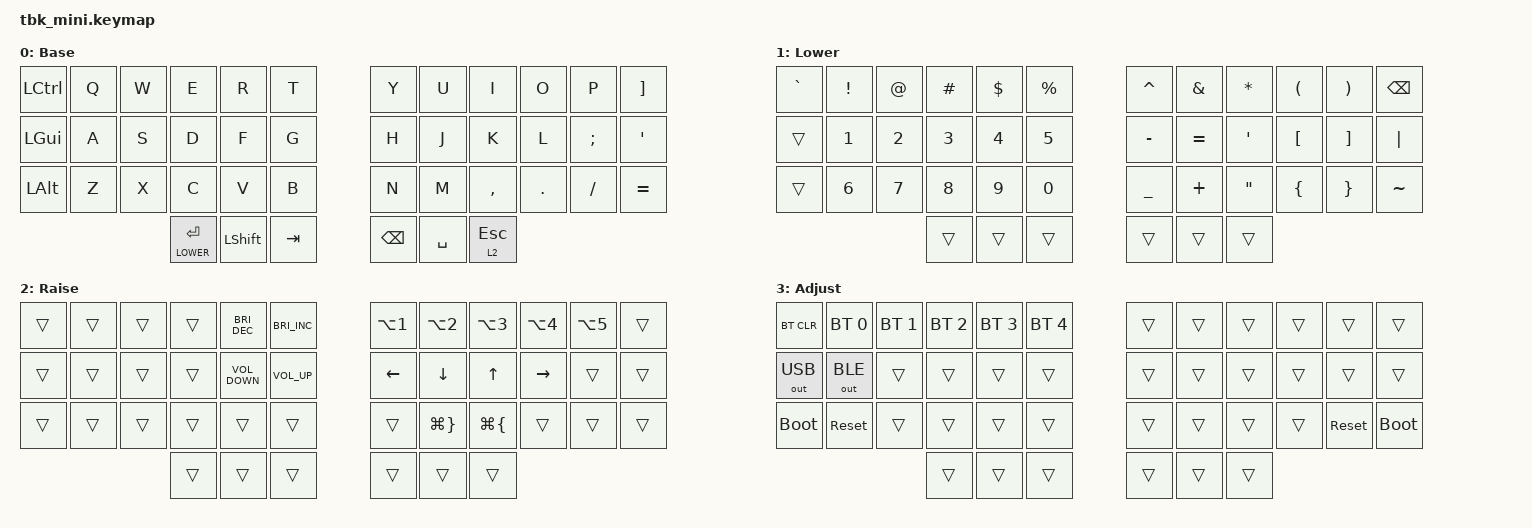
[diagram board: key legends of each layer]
#include <behaviors.dtsi>
#include <dt-bindings/zmk/bt.h>
#include <dt-bindings/zmk/keys.h>
#include <dt-bindings/zmk/outputs.h>

#define DEFAULT 0
#define LOWER   1
#define RAISE   2
#define ADJUST  3

/ {
    conditional_layers {
        compatible = "zmk,conditional-layers";

        adjust {
            if-layers = <LOWER RAISE>;
            then-layer = <ADJUST>;
        };
    };

    behaviors {
        // "Timeless" home row mods (positional + prior-idle):
        //   * balanced flavor
        //   * hold only fires when a key on the OPPOSITE hand (or a thumb) is
        //     pressed -> same-hand rolls never trigger a modifier
        //   * require-prior-idle-ms -> if you just typed, it resolves as a tap,
        //     so fast typing doesn't misfire mods
        //
        // Key positions (42-key layout, 0-indexed):
        //   row0  0..11   row1 12..23   row2 24..35   thumbs 36..41
        //   left hand:  0-5  12-17 24-29     right hand: 6-11 18-23 30-35
        //   thumbs:     36-41

        hml: home_row_mod_left {
            compatible = "zmk,behavior-hold-tap";
            #binding-cells = <2>;
            flavor = "balanced";
            tapping-term-ms = <280>;
            quick-tap-ms = <175>;
            require-prior-idle-ms = <150>;
            bindings = <&kp>, <&kp>;

            hold-trigger-key-positions = <6 7 8 9 10 11 18 19 20 21 22 23 30 31 32 33 34 35 36 37 38 39 40 41>;
            hold-trigger-on-release;
        };

        hmr: home_row_mod_right {
            compatible = "zmk,behavior-hold-tap";
            #binding-cells = <2>;
            flavor = "balanced";
            tapping-term-ms = <280>;
            quick-tap-ms = <175>;
            require-prior-idle-ms = <150>;
            bindings = <&kp>, <&kp>;

            hold-trigger-key-positions = <0 1 2 3 4 5 12 13 14 15 16 17 24 25 26 27 28 29 36 37 38 39 40 41>;
            hold-trigger-on-release;
        };
    };

    keymap {
        compatible = "zmk,keymap";

        // 42 keys: 3 alpha rows (6L + 6R) + 3 thumbs per side (inner columns).
        // Row 3 thumbs: SPACE = tap Space / hold Lower, BSPC = tap Bksp / hold
        // Raise, plus Del (left) and Enter (right).
        // Home row A S D F / J K L ; are GACS home row mods (GUI ALT CTRL SHIFT).

        default_layer {
            display-name = "Base";
            bindings = <
&kp LCTRL     &kp Q  &kp W  &kp E            &kp R           &kp T    &kp Y          &kp U      &kp I         &kp O    &kp P          &kp RIGHT_BRACKET
&kp LEFT_GUI  &kp A  &kp S  &kp D            &kp F           &kp G    &kp H          &kp J      &kp K         &kp L    &kp SEMICOLON  &kp SQT
&kp LEFT_ALT  &kp Z  &kp X  &kp C            &kp V           &kp B    &kp N          &kp M      &kp COMMA     &kp DOT  &kp FSLH       &kp EQUAL
                            &lt LOWER ENTER  &kp LEFT_SHIFT  &kp TAB  &kp BACKSPACE  &kp SPACE  &lt 2 ESCAPE
            >;
        };

        lower_layer {
            display-name = "Lower";
            bindings = <
&kp GRAVE  &kp EXCL  &kp AT  &kp HASH  &kp DOLLAR  &kp PERCENT  &kp CARET  &kp AMPERSAND  &kp ASTERISK       &kp LEFT_PARENTHESIS  &kp RIGHT_PARENTHESIS  &kp BSPC
&trans     &kp N1    &kp N2  &kp N3    &kp N4      &kp N5       &kp MINUS  &kp EQUAL      &kp APOS           &kp LEFT_BRACKET      &kp RIGHT_BRACKET      &kp PIPE
&trans     &kp N6    &kp N7  &kp N8    &kp N9      &kp N0       &kp UNDER  &kp PLUS       &kp DOUBLE_QUOTES  &kp LEFT_BRACE        &kp RIGHT_BRACE        &kp TILDE
                             &trans    &trans      &trans       &trans     &trans         &trans
            >;
        };

        raise_layer {
            display-name = "Raise";
            bindings = <
&trans  &trans  &trans  &trans  &kp C_BRIGHTNESS_DEC  &kp C_BRIGHTNESS_INC  &kp LA(NUMBER_1)  &kp LA(NUMBER_2)     &kp LA(NUMBER_3)    &kp LA(NUMBER_4)  &kp LA(N5)  &trans
&trans  &trans  &trans  &trans  &kp C_VOLUME_DOWN     &kp C_VOLUME_UP       &kp LEFT_ARROW    &kp DOWN             &kp UP_ARROW        &kp RIGHT         &trans      &trans
&trans  &trans  &trans  &trans  &trans                &trans                &trans            &kp LG(RIGHT_BRACE)  &kp LG(LEFT_BRACE)  &trans            &trans      &trans
                        &trans  &trans                &trans                &trans            &trans               &trans
            >;
        };

        adjust_layer {
            display-name = "Adjust";
            bindings = <
&bt BT_CLR    &bt BT_SEL 0  &bt BT_SEL 1  &bt BT_SEL 2  &bt BT_SEL 3  &bt BT_SEL 4  &trans  &trans  &trans  &trans  &trans      &trans
&out OUT_USB  &out OUT_BLE  &trans        &trans        &trans        &trans        &trans  &trans  &trans  &trans  &trans      &trans
&bootloader   &sys_reset    &trans        &trans        &trans        &trans        &trans  &trans  &trans  &trans  &sys_reset  &bootloader
                                          &trans        &trans        &trans        &trans  &trans  &trans
            >;
        };
    };
};
